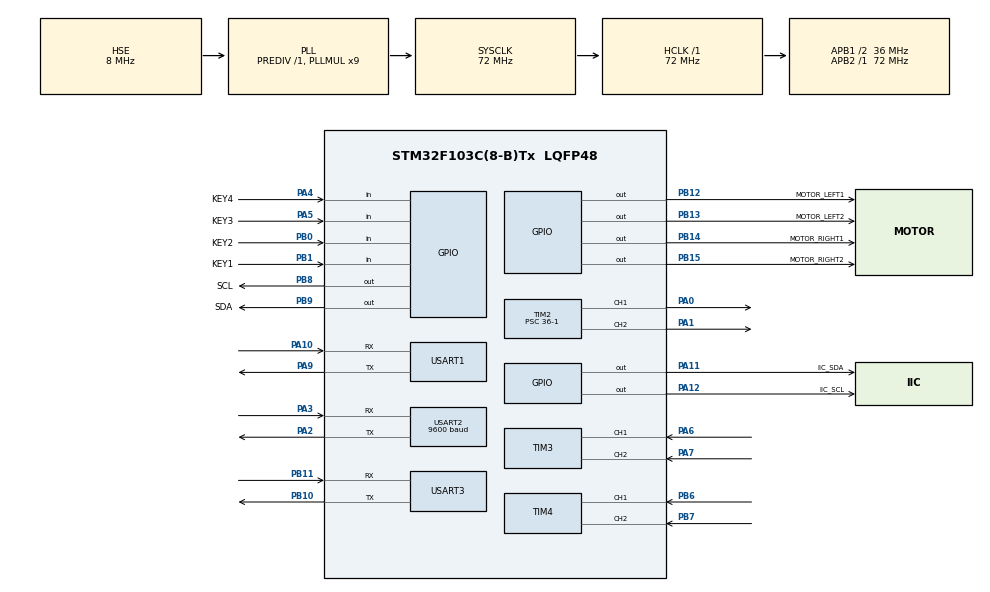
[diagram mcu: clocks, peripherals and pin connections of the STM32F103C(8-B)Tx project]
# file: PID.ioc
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Mcu.Family=STM32F1
Mcu.Name=STM32F103C(8-B)Tx
Mcu.Package=LQFP48
NVIC.PriorityGroup=NVIC_PRIORITYGROUP_2
NVIC.TIM1_UP_IRQn=true\:2\:1\:true\:false\:true\:true\:true\:true
NVIC.USART1_IRQn=true\:1\:1\:true\:false\:true\:true\:true\:true
NVIC.USART2_IRQn=true\:1\:1\:true\:false\:true\:true\:true\:true
PA0-WKUP.Signal=S_TIM2_CH1_ETR
PA1.Signal=S_TIM2_CH2
PA10.Mode=Asynchronous
PA10.Signal=USART1_RX
PA11.GPIO_Label=IIC_SDA
PA11.GPIO_ModeDefaultOutputPP=GPIO_MODE_OUTPUT_OD
PA11.GPIO_PuPd=GPIO_NOPULL
PA11.GPIO_Speed=GPIO_SPEED_FREQ_HIGH
PA11.PinState=GPIO_PIN_SET
PA11.Signal=GPIO_Output
PA12.GPIO_Label=IIC_SCL
PA12.GPIO_ModeDefaultOutputPP=GPIO_MODE_OUTPUT_OD
PA12.GPIO_PuPd=GPIO_NOPULL
PA12.GPIO_Speed=GPIO_SPEED_FREQ_HIGH
PA12.PinState=GPIO_PIN_SET
PA12.Signal=GPIO_Output
PA13.Mode=Serial_Wire
PA13.Signal=SYS_JTMS-SWDIO
PA14.Mode=Serial_Wire
PA14.Signal=SYS_JTCK-SWCLK
PA2.Mode=Asynchronous
PA2.Signal=USART2_TX
PA3.Mode=Asynchronous
PA3.Signal=USART2_RX
PA4.GPIO_Label=KEY4
PA4.GPIO_PuPd=GPIO_PULLUP
PA4.Signal=GPIO_Input
PA5.GPIO_Label=KEY3
PA5.GPIO_PuPd=GPIO_PULLUP
PA5.Signal=GPIO_Input
PA6.Signal=S_TIM3_CH1
PA7.Signal=S_TIM3_CH2
PA9.Mode=Asynchronous
PA9.Signal=USART1_TX
PB0.GPIO_Label=KEY2
PB0.GPIO_PuPd=GPIO_PULLUP
PB0.Signal=GPIO_Input
PB1.GPIO_Label=KEY1
PB1.GPIO_PuPd=GPIO_PULLUP
PB1.Signal=GPIO_Input
PB10.Mode=Asynchronous
PB10.Signal=USART3_TX
PB11.Mode=Asynchronous
PB11.Signal=USART3_RX
PB12.GPIO_Label=MOTOR_LEFT1
PB12.GPIO_Speed=GPIO_SPEED_FREQ_HIGH
PB12.PinState=GPIO_PIN_SET
PB12.Signal=GPIO_Output
PB13.GPIO_Label=MOTOR_LEFT2
PB13.GPIO_Speed=GPIO_SPEED_FREQ_HIGH
PB13.PinState=GPIO_PIN_SET
PB13.Signal=GPIO_Output
PB14.GPIO_Label=MOTOR_RIGHT1
PB14.GPIO_Speed=GPIO_SPEED_FREQ_HIGH
PB14.PinState=GPIO_PIN_SET
PB14.Signal=GPIO_Output
PB15.GPIO_Label=MOTOR_RIGHT2
PB15.GPIO_Speed=GPIO_SPEED_FREQ_HIGH
PB15.PinState=GPIO_PIN_SET
PB15.Signal=GPIO_Output
PB6.Signal=S_TIM4_CH1
PB7.Signal=S_TIM4_CH2
PB8.GPIO_Label=SCL
PB8.GPIO_ModeDefaultOutputPP=GPIO_MODE_OUTPUT_OD
PB8.GPIO_PuPd=GPIO_NOPULL
PB8.GPIO_Speed=GPIO_SPEED_FREQ_HIGH
PB8.PinState=GPIO_PIN_SET
PB8.Signal=GPIO_Output
PB9.GPIO_Label=SDA
PB9.GPIO_ModeDefaultOutputPP=GPIO_MODE_OUTPUT_OD
PB9.GPIO_PuPd=GPIO_NOPULL
PB9.GPIO_Speed=GPIO_SPEED_FREQ_HIGH
PB9.PinState=GPIO_PIN_SET
PB9.Signal=GPIO_Output
PD0-OSC_IN.Mode=HSE-External-Oscillator
PD0-OSC_IN.Signal=RCC_OSC_IN
PD1-OSC_OUT.Mode=HSE-External-Oscillator
PD1-OSC_OUT.Signal=RCC_OSC_OUT
ProjectManager.HeapSize=0x200
ProjectManager.StackSize=0x400
ProjectManager.TargetToolchain=CMake
RCC.AHBFreq_Value=72000000
RCC.APB1CLKDivider=RCC_HCLK_DIV2
RCC.APB1Freq_Value=36000000
RCC.APB1TimFreq_Value=72000000
RCC.APB2Freq_Value=72000000
RCC.APB2TimFreq_Value=72000000
RCC.HCLKFreq_Value=72000000
RCC.PLLMUL=RCC_PLL_MUL9
RCC.PLLSourceVirtual=RCC_PLLSOURCE_HSE
RCC.SYSCLKFreq_VALUE=72000000
RCC.SYSCLKSource=RCC_SYSCLKSOURCE_PLLCLK
RCC.USBFreq_Value=72000000
SH.S_TIM2_CH1_ETR.0=TIM2_CH1,PWM Generation1 CH1
SH.S_TIM2_CH2.0=TIM2_CH2,PWM Generation2 CH2
SH.S_TIM3_CH1.0=TIM3_CH1,Encoder_Interface
SH.S_TIM3_CH2.0=TIM3_CH2,Encoder_Interface
SH.S_TIM4_CH1.0=TIM4_CH1,Encoder_Interface
SH.S_TIM4_CH2.0=TIM4_CH2,Encoder_Interface
TIM1.Period=1000-1
TIM1.Prescaler=72-1
TIM2.AutoReloadPreload=TIM_AUTORELOAD_PRELOAD_ENABLE
TIM2.Channel-PWM\ Generation1\ CH1=TIM_CHANNEL_1
TIM2.Channel-PWM\ Generation2\ CH2=TIM_CHANNEL_2
TIM2.OCMode_PWM-PWM\ Generation1\ CH1=TIM_OCMODE_PWM1
TIM2.Period=100-1
TIM2.Prescaler=36-1
TIM2.Pulse-PWM\ Generation1\ CH1=50
TIM2.Pulse-PWM\ Generation2\ CH2=50
USART1.VirtualMode=VM_ASYNC
USART2.BaudRate=9600
USART2.VirtualMode=VM_ASYNC
USART3.VirtualMode=VM_ASYNC
VP_TIM1_VS_ClockSourceINT.Mode=Internal
VP_TIM2_VS_ClockSourceINT.Mode=Internal
board=custom

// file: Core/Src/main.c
/* USER CODE BEGIN Header */
/**
  ******************************************************************************
  * @file           : main.c
  * @brief          : Main program body
  ******************************************************************************
  * @attention
  *
  * Copyright (c) 2026 STMicroelectronics.
  * All rights reserved.
  *
  * This software is licensed under terms that can be found in the LICENSE file
  * in the root directory of this software component.
  * If no LICENSE file comes with this software, it is provided AS-IS.
  *
  ******************************************************************************
  */
/* USER CODE END Header */
#include "main.h"
#include "tim.h"
#include "usart.h"
#include "gpio.h"
#include <string.h>
/* USER CODE BEGIN Includes */
#include "oled.h"
#include "key.h"
#include "iic.h"
#include "mpu6050.h"
#include "motor.h"
#include "encoder.h"
#include "serial.h"
#include "blueserial.h"
#include <stdint.h>
/* USER CODE END Includes */

void SystemClock_Config(void);

/* USER CODE BEGIN 0 */
  int16_t AX,AY,AZ,GX,GY,GZ;
  int number = 0,KeyNum = 0;
  int8_t PWM_L=0,PWM_R=0;
  int speedl = 0,speedr = 0;
  extern volatile uint8_t Serial_RxData;
  extern volatile uint8_t Serial_RxFlag;
  extern volatile uint8_t BlueSerial_RxFlag;
  extern volatile uint8_t BlueSerial_RxByte;   // 单字节接收缓冲区
/* USER CODE END 0 */

int main(void)
{

  /* MCU Configuration--------------------------------------------------------*/

  /* Reset of all peripherals, Initializes the Flash interface and the Systick. */
  HAL_Init();

  /* Configure the system clock */
  SystemClock_Config();

  /* Initialize all configured peripherals */
  MX_GPIO_Init();
  MX_TIM1_Init();
  MX_TIM2_Init();
  MX_TIM3_Init();
  MX_TIM4_Init();
  MX_USART1_UART_Init();
  MX_USART2_UART_Init();
  MX_USART3_UART_Init();
  /* USER CODE BEGIN 2 */
  //初始化放在开启时钟之后和GPIO初始化之后
  OLED_Init();
  MPU6050_Init();

  //启动定时器中断
  HAL_TIM_Base_Start_IT(&htim1);
  //HAL_TIM_Base_Start(&htim2);   // 仅启动计数，不启动中断
  HAL_TIM_PWM_Start(&htim2, TIM_CHANNEL_1);
  HAL_TIM_PWM_Start(&htim2, TIM_CHANNEL_2);
  HAL_TIM_Encoder_Start(&htim3, TIM_CHANNEL_ALL);
  HAL_TIM_Encoder_Start(&htim4, TIM_CHANNEL_ALL);
  // 正确写法：蓝牙用 BlueSerial_RxByte，普通串口用 Serial_RxData
  HAL_UART_Receive_IT(&huart2, (uint8_t *)&BlueSerial_RxByte, 1); // 蓝牙
  HAL_UART_Receive_IT(&huart1, (uint8_t *)&Serial_RxData, 1);     // 有线串口
  Serial_SendString("Hello");
  Serial_Printf("world");
  /* USER CODE END 2 */

  /* Infinite loop */
  /* USER CODE BEGIN WHILE */
  while (1)
  {
    KeyNum = key_get();

    if (KeyNum!=0)
    {
			 if(KeyNum==1){PWM_L += 10;}
			 if(KeyNum==2){PWM_L -= 10;}
			 if(KeyNum==3){PWM_R += 10;}
			 if(KeyNum==4){PWM_R -= 10;}

    }
    // BlueSerial_Printf("1");
    // HAL_Delay(1000);
    // if(Serial_GetRxFlag() == 1)
    // {
    //   uint8_t RxData = Serial_GetRxData();
    //   OLED_Printf(0, 0, OLED_6X8, "RxData:%02X", RxData);
    //   OLED_Update();
    // }

    //  Serial_Printf("Hello from STM32\r\n");
    //   HAL_Delay(1000);   // 每隔1秒发送一次
    // 检测蓝牙是否收到完整数据包
    if (BlueSerial_RxFlag == 1)
    {
        BlueSerial_RxFlag = 0;   // 清除标志

        // 判断收到的内容是否为 "1"
        if (strcmp(BlueSerial_RxPacket, "1") == 0)
        {
            // 执行你想做的事情，比如切换 LED
            PWM_L += 10;

            // 回复手机确认
            //BlueSerial_Printf("收到指令，LED已切换\r\n");
        }
    }

    Motor_SetPWM(1, PWM_L);
    Motor_SetPWM(2, PWM_R);

    OLED_ShowNum(0,0,PWM_L,2,OLED_6X8);
    OLED_ShowNum(0,10,PWM_R,2,OLED_6X8);

    OLED_Update();

    /* USER CODE END WHILE */

  }
}

void SystemClock_Config(void)
{
  RCC_OscInitTypeDef RCC_OscInitStruct = {0};
  RCC_ClkInitTypeDef RCC_ClkInitStruct = {0};

  /** Initializes the RCC Oscillators according to the specified parameters
  * in the RCC_OscInitTypeDef structure.
  */
  RCC_OscInitStruct.OscillatorType = RCC_OSCILLATORTYPE_HSE;
  RCC_OscInitStruct.HSEState = RCC_HSE_ON;
  RCC_OscInitStruct.HSEPredivValue = RCC_HSE_PREDIV_DIV1;
  RCC_OscInitStruct.HSIState = RCC_HSI_ON;
  RCC_OscInitStruct.PLL.PLLState = RCC_PLL_ON;
  RCC_OscInitStruct.PLL.PLLSource = RCC_PLLSOURCE_HSE;
  RCC_OscInitStruct.PLL.PLLMUL = RCC_PLL_MUL9;
  if (HAL_RCC_OscConfig(&RCC_OscInitStruct) != HAL_OK)
  {
    Error_Handler();
  }

  /** Initializes the CPU, AHB and APB buses clocks
  */
  RCC_ClkInitStruct.ClockType = RCC_CLOCKTYPE_HCLK|RCC_CLOCKTYPE_SYSCLK
                              |RCC_CLOCKTYPE_PCLK1|RCC_CLOCKTYPE_PCLK2;
  RCC_ClkInitStruct.SYSCLKSource = RCC_SYSCLKSOURCE_PLLCLK;
  RCC_ClkInitStruct.AHBCLKDivider = RCC_SYSCLK_DIV1;
  RCC_ClkInitStruct.APB1CLKDivider = RCC_HCLK_DIV2;
  RCC_ClkInitStruct.APB2CLKDivider = RCC_HCLK_DIV1;

  if (HAL_RCC_ClockConfig(&RCC_ClkInitStruct, FLASH_LATENCY_2) != HAL_OK)
  {
    Error_Handler();
  }
}

/* USER CODE BEGIN 4 */

void HAL_TIM_PeriodElapsedCallback(TIM_HandleTypeDef *htim)
{   static uint8_t count;
  //判断是否为TIM1的中断
    if (htim->Instance == TIM1)   // 判断是否为 TIM1 触发的更新中断
    {
      MPU6050_GetData(&AX, &AY, &AZ, &GX, &GY, &GZ);
      count++;
      if(count>=60)
      {
        speedl = Encoder_Get(1);
        speedr = Encoder_Get(2);
      }
      Key_loop();
    }
}

void HAL_UART_RxCpltCallback(UART_HandleTypeDef *huart)
{
    // ==================== USART2：蓝牙模块 ====================
    if (huart->Instance == USART2)
    {
        static uint8_t RxState = 0;
        static uint8_t pRxPacket = 0;
        uint8_t RxData = BlueSerial_RxByte;

        if (RxState == 0)
        {
            if (RxData == '[' && BlueSerial_RxFlag == 0)
            {
                RxState = 1;
                pRxPacket = 0;
            }
        }
        else if (RxState == 1)
        {
            if (RxData == ']')
            {
                RxState = 0;
                BlueSerial_RxPacket[pRxPacket] = '\0';
                BlueSerial_RxFlag = 1;
            }
            else
            {
                if (pRxPacket < BLUESERIAL_RX_PACKET_SIZE - 1)
                {
                    BlueSerial_RxPacket[pRxPacket] = RxData;
                    pRxPacket++;
                }
            }
        }
        // 继续接收下一个字节（注意这里是 &huart2）
        HAL_UART_Receive_IT(&huart2, (uint8_t *)&BlueSerial_RxByte, 1);
    }
}
/* USER CODE END 4 */

void Error_Handler(void)
{
  __disable_irq();
  while (1)
  {
  }
}
